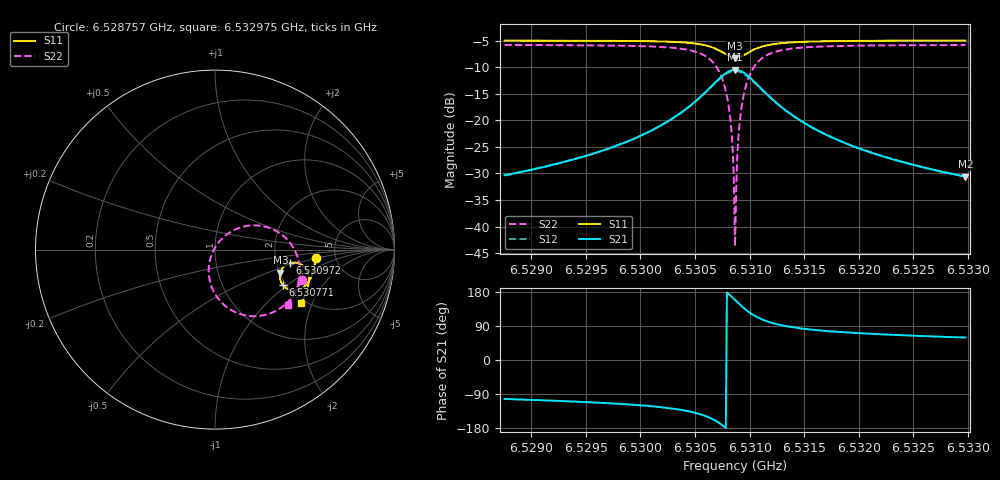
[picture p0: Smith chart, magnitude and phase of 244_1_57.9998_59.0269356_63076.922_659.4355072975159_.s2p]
#  HZ  S  RI  R  50.00
! Rohde & Schwarz Vector Network Analyzer
! Rohde-Schwarz,ZNB20-2Port,1311601062101988,3.16
! Created: UTC 3/21/2024, 1:01:11 AM
! freq[Hz]  re:S11  im:S11  re:S21  im:S21  re:S12  im:S12  re:S22  im:S22
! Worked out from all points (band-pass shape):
!   401 points, 6.528757 GHz to 6.532975 GHz, reference 50 ohm
!   highest |S21| = -10.47 dB at 6.530866 GHz (marker M1); lowest = -30.6 dB at 6.532975 GHz (marker M2)
!   |S21| within 3 dB of the highest: 6.530656 GHz to 6.531078 GHz (421.8 kHz wide, 0.00646 % of centre)
!   lowest |S11| = -8.3 dB at 6.530866 GHz (marker M3), VSWR 2.26, Z = 101 - j30.4 ohm
!   |S11| at or under -10 dB: nowhere
!   |S22| runs from -43.7 to -5.8 dB; largest |S21 - S12| = 0.012
!   S11 on the Smith chart (normalised r, x): 6.528757 GHz: 3.50, -0.48; 6.530771 GHz: 1.92, -0.92; 6.530972 GHz: 2.38, -0.43; 6.532975 GHz: 1.88, -1.65
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6.528757e9  0.5603 -0.0473  -0.00672 -0.0297  -0.00728 -0.0295  0.4833 -0.1674
6.5294635e9  0.5512 -0.106  -0.0159 -0.0422  -0.0168 -0.0419  0.4527 -0.2315
6.5301701e9  0.5242 -0.1759  -0.0486 -0.0725  -0.0507 -0.0711  0.3722 -0.3207
6.5305919e9  0.4553 -0.2265  -0.1539 -0.0984  -0.1563 -0.092  0.1702 -0.3666
6.5306974e9  0.4113 -0.2221  -0.222 -0.0728  -0.2213 -0.0636  0.0559 -0.3124
6.5307712e9  0.3768 -0.1959  -0.2722 -0.0158  -0.2668 -0.00606  -0.0189 -0.2075
6.5308028e9  0.3661 -0.1763  -0.2857 0.022  -0.2779 0.0304  -0.0342 -0.1428
6.5308239e9  0.3621 -0.1611  -0.2892 0.0504  -0.2799 0.0577  -0.0343 -0.0951
6.5308345e9  0.3613 -0.1529  -0.2888 0.0654  -0.279 0.0718  -0.0309 -0.071
6.530845e9  0.3612 -0.1446  -0.2868 0.0802  -0.2767 0.0858  -0.0252 -0.0469
6.5308556e9  0.3623 -0.1363  -0.2836 0.095  -0.2731 0.0997  -0.0169 -0.0232
6.5308661e9  0.3641 -0.1281  -0.2788 0.1094  -0.2682 0.1133  -0.00652 -0.00056
6.5308766e9  0.3669 -0.1201  -0.2725 0.1236  -0.262 0.1263  0.0062 0.0211
6.5308872e9  0.3704 -0.1126  -0.2649 0.1367  -0.2545 0.1386  0.0209 0.0416
6.5308977e9  0.3747 -0.1055  -0.2563 0.1491  -0.246 0.15  0.0374 0.06
6.5309188e9  0.3853 -0.0932  -0.2359 0.1704  -0.2263 0.1698  0.0746 0.091
6.5309716e9  0.4175 -0.0747  -0.177 0.202  -0.1703 0.1992  0.1772 0.1322
6.5310454e9  0.4596 -0.0745  -0.1033 0.2043  -0.0998 0.2014  0.3006 0.1215
6.5311508e9  0.4964 -0.0961  -0.04 0.1742  -0.0381 0.1726  0.4029 0.0553
6.5315727e9  0.5228 -0.1751  0.0149 0.0841  0.016 0.0838  0.4721 -0.1333
6.5322792e9  0.5046 -0.2469  0.0172 0.0404  0.018 0.0402  0.4429 -0.248
6.5329752e9  0.4783 -0.2992  0.0151 0.0253  0.0157 0.0251  0.4078 -0.3079
